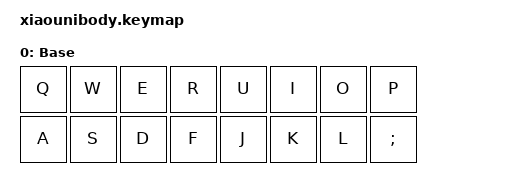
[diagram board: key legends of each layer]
#include <behaviors.dtsi>
#include <dt-bindings/zmk/keys.h>

/ {
    keymap {
        compatible = "zmk,keymap";
        default_layer {
            display-name = "Base";
            bindings = <
                &kp Q &kp W &kp E &kp R   &kp U &kp I &kp O &kp P
                &kp A &kp S &kp D &kp F   &kp J &kp K &kp L &kp SEMI
            >;
        };
    };
};
